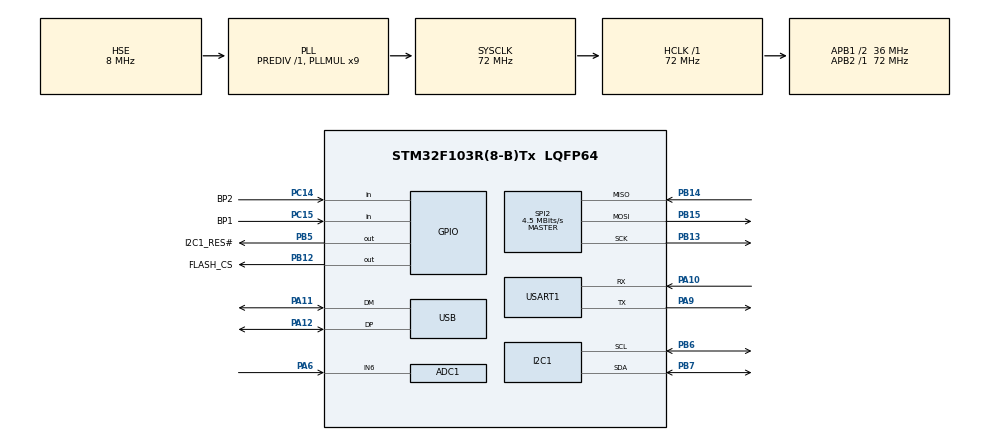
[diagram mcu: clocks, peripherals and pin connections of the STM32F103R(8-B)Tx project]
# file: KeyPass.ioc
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ADC1.Channel-1\#ChannelRegularConversion=ADC_CHANNEL_6
ADC1.NbrOfConversionFlag=1
ADC1.Rank-1\#ChannelRegularConversion=1
ADC1.SamplingTime-1\#ChannelRegularConversion=ADC_SAMPLETIME_1CYCLE_5
ADC1.master=1
AL94.I-CUBE-USBD-COMPOSITE.1.0.3.CompositeCcUSBJjCOMPOSITEJjCDCIiACM=true
AL94.I-CUBE-USBD-COMPOSITE.1.0.3.CompositeCcUSBJjCOMPOSITEJjCOMPOSITE=true
AL94.I-CUBE-USBD-COMPOSITE.1.0.3.CompositeCcUSBJjCOMPOSITEJjCore=true
AL94.I-CUBE-USBD-COMPOSITE.1.0.3.CompositeCcUSBJjCOMPOSITEJjHIDIiKEYBOARD=true
AL94.I-CUBE-USBD-COMPOSITE.1.0.3._STM32F1_DEVICE=true
AL94.I-CUBE-USBD-COMPOSITE.1.0.3._USBD_USE_CDC_ACM=true
AL94.I-CUBE-USBD-COMPOSITE.1.0.3._USBD_USE_HID_CUSTOM=false
AL94.I-CUBE-USBD-COMPOSITE.1.0.3._USBD_USE_HID_KEYBOARD=true
Mcu.Family=STM32F1
Mcu.Name=STM32F103R(8-B)Tx
Mcu.Package=LQFP64
NVIC.PriorityGroup=NVIC_PRIORITYGROUP_4
NVIC.USART1_IRQn=true\:0\:0\:false\:false\:true\:true\:true\:true
NVIC.USB_HP_CAN1_TX_IRQn=true\:0\:0\:false\:false\:true\:true\:true\:true
NVIC.USB_LP_CAN1_RX0_IRQn=true\:0\:0\:false\:false\:true\:true\:true\:true
PA10.Mode=Asynchronous
PA10.Signal=USART1_RX
PA11.Mode=Device
PA11.Signal=USB_DM
PA12.Mode=Device
PA12.Signal=USB_DP
PA13.Mode=Serial_Wire
PA13.Signal=SYS_JTMS-SWDIO
PA14.Mode=Serial_Wire
PA14.Signal=SYS_JTCK-SWCLK
PA6.Signal=ADCx_IN6
PA9.Mode=Asynchronous
PA9.Signal=USART1_TX
PB12.GPIO_Label=FLASH_CS
PB12.Signal=GPIO_Output
PB13.Mode=Full_Duplex_Master
PB13.Signal=SPI2_SCK
PB14.Mode=Full_Duplex_Master
PB14.Signal=SPI2_MISO
PB15.Mode=Full_Duplex_Master
PB15.Signal=SPI2_MOSI
PB5.GPIO_Label=I2C1_RES\#
PB5.Signal=GPIO_Output
PB6.Mode=I2C
PB6.Signal=I2C1_SCL
PB7.Mode=I2C
PB7.Signal=I2C1_SDA
PC14-OSC32_IN.GPIO_Label=BP2
PC14-OSC32_IN.Signal=GPIO_Input
PC15-OSC32_OUT.GPIO_Label=BP1
PC15-OSC32_OUT.Signal=GPIO_Input
PD0-OSC_IN.Mode=HSE-External-Oscillator
PD0-OSC_IN.Signal=RCC_OSC_IN
PD1-OSC_OUT.Mode=HSE-External-Oscillator
PD1-OSC_OUT.Signal=RCC_OSC_OUT
ProjectManager.HeapSize=0x200
ProjectManager.StackSize=0x400
ProjectManager.TargetToolchain=STM32CubeIDE
RCC.AHBFreq_Value=72000000
RCC.APB1CLKDivider=RCC_HCLK_DIV2
RCC.APB1Freq_Value=36000000
RCC.APB1TimFreq_Value=72000000
RCC.APB2Freq_Value=72000000
RCC.APB2TimFreq_Value=72000000
RCC.HCLKFreq_Value=72000000
RCC.PLLMUL=RCC_PLL_MUL9
RCC.SYSCLKFreq_VALUE=72000000
RCC.SYSCLKSource=RCC_SYSCLKSOURCE_PLLCLK
RCC.USBFreq_Value=48000000
RCC.USBPrescaler=RCC_USBCLKSOURCE_PLL_DIV1_5
SH.ADCx_IN6.0=ADC1_IN6,IN6
SPI2.BaudRatePrescaler=SPI_BAUDRATEPRESCALER_8
SPI2.CalculateBaudRate=4.5 MBits/s
SPI2.Direction=SPI_DIRECTION_2LINES
SPI2.Mode=SPI_MODE_MASTER
SPI2.VirtualType=VM_MASTER
USART1.VirtualMode=VM_ASYNC
USART1.WordLength=WORDLENGTH_8B
VP_AL94.I-CUBE-USBD-COMPOSITE_VS_USBJjComposite_1.0.0_1.0.3.Mode=USBJjComposite
board=custom

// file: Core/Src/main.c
/* USER CODE BEGIN Header */
/**
  ******************************************************************************
  * @file           : main.c
  * @brief          : Main program body
  ******************************************************************************
  * @attention
  *
  * Copyright (c) 2022 STMicroelectronics.
  * All rights reserved.
  *
  * This software is licensed under terms that can be found in the LICENSE file
  * in the root directory of this software component.
  * If no LICENSE file comes with this software, it is provided AS-IS.
  *
  ******************************************************************************
  */
/* USER CODE END Header */
#include "main.h"
#include "adc.h"
#include "i2c.h"
#include "spi.h"
#include "usart.h"
#include "gpio.h"

/* USER CODE BEGIN Includes */
#include "w25qxx.h"
#include "DFRobot_ID809.h"
#include "lcd_i2c.h"
#include "password.h"
/* USER CODE END Includes */

/* USER CODE BEGIN PV */
extern UART_HandleTypeDef huart1;

uint8_t buffer1[20];
uint8_t buffer2[100] = {0};
uint8_t codeState = e_INIT;
bool toSingleLoad = true;
char passwordStr[100] = {0};
uint8_t indexFlash[1] = {0};
uint8_t idButton = 0;
/* USER CODE END PV */

void SystemClock_Config(void);

int main(void)
{

  /* MCU Configuration--------------------------------------------------------*/

  /* Reset of all peripherals, Initializes the Flash interface and the Systick. */
  HAL_Init();

  /* USER CODE BEGIN Init */
  HAL_Delay(100);
  /* USER CODE END Init */

  /* Configure the system clock */
  SystemClock_Config();

  /* Initialize all configured peripherals */
  MX_GPIO_Init();
  MX_USB_PCD_Init();
  MX_I2C1_Init();
  MX_USART1_UART_Init();
  MX_SPI2_Init();
  MX_ADC1_Init();
  /* USER CODE BEGIN 2 */

  DFRobot_ID809_Init();
  MX_USB_DEVICE_Init();
  // Calibrate The ADC On Power-Up For Better Accuracy
  HAL_ADCEx_Calibration_Start(&hadc1);

  HAL_Delay(100);
  lcd_init ();
  lcd_clear ();
  HAL_Delay(100);

  writeOnLCD("      KeyPass", "Loading ...");

  uint8_t *data = "Hello World from USB CDC\n";
  CDC_Transmit(0, data, strlen(data));

  /* --------- differente commande for flash memeorie */
  W25qxx_Init();
  //block 1 for nb of password and fingerprint nb
  HAL_Delay(500);
  DFRobot_ID809_ctrlLED(eKeepsOn, eLEDRed, 0);
  //printf("Start\n");

  while (DFRobot_ID809_isConnected() == false) {
  	DFRobot_ID809_ctrlLED(eBreathing, eLEDWhite, 0);
	HAL_Delay(1000);
  }

  HAL_Delay(50);
  DFRobot_ID809_ctrlLED(eKeepsOn, eLEDGreen, 0);

  HAL_Delay(500);

  codeState = e_MENU;

  /* USER CODE END 2 */

  /* Infinite loop */
  while (1){
	  static uint8_t elementInMenu = 0;
	  switch(codeState){
		  case e_MENU:{
			  static char* menuButtons[5] = {"   Load password", "    Add password", "     Add finger", "     Del finger", "   reset password"};
			  if(toSingleLoad){
				  DFRobot_ID809_ctrlLED(eNormalClose, eLEDRed, 0);
				  elementInMenu = 5;
				  toSingleLoad=false;
				  writeOnLCD(menuButtons[idButton],"          ->    ok");
			  }
			  if(readButtonFinger()){
				  toSingleLoad = true;
				  switch(idButton){
				  	  case 0:
				  		codeState = e_PASSWORD;
				  		  break;
				  	  case 1:
				  		codeState = e_ADDPASSWORD;
				  		  break;
				  	  case 2:
				  		codeState = e_ADDFINGER;
				  		  break;
				  	  case 3:
				  		codeState = e_DELFINGER;
				  		  break;
				  	  case 4:
				  		  codeState = e_PASSRESET;
				  		  break;
				  }
				  idButton = 0;
			  }
			  if(readButton2()){
				  toSingleLoad = true;
				  if(idButton == elementInMenu-1){
					  idButton = 0;
				  }else{
					  idButton++;
				  }
			  }
			  break;
		  }
		  case e_PASSWORD:{
			  if(toSingleLoad){
				  W25qxx_ReadBlock(indexFlash, 1, 0, 1);
				  toSingleLoad=false;
				  if(indexFlash[0] > 0){
					  DFRobot_ID809_ctrlLED(eNormalClose, eLEDRed, 0);
					  W25qxx_ReadBlock(buffer1, 2+(idButton*2)+1, 0, 100);
					  writeOnLCD(buffer1,"  menu    ->    ok");
				  }else{
					  writeOnLCD("     No password","    return");
				  }
				  codeState = e_PASSWORD;
			  }
			  if(readButton2()){
				  codeState = e_PASSWORD;
				  if(indexFlash[0] > 0){
					  toSingleLoad = true;
					  if(idButton == indexFlash[0]-1){
						  idButton = 0;
					  }else{
						  idButton++;
					  }
				  }
			  }
			  if(readButtonFinger()){
				  codeState = e_PASSWORD;
				  toSingleLoad = true;
				  if(indexFlash[0] > 0){
					  writeOnLCD("    Check finger","       put it");
					  while(DFRobot_ID809_detectFinger());
					  if(testFingerPrint()){
						  writeOnLCD("    Start writing","      password");
						  W25qxx_ReadBlock(buffer1, 2+(idButton*2)+2, 0, 100);
						  W25qxx_R
						  writePasswordHID(buffer1);
						  writeOnLCD("    Writing done","");
						  codeState = e_MENU;
						  idButton=0;
						  HAL_Delay(1000);
					  }else{
						  writeOnLCD("    Wrong finger","");
					  }
					  HAL_Delay(1000);
				  }
			  }
			  if(readButton1()){
				  codeState = e_MENU;
				  toSingleLoad = true;
				  idButton=0;
			  }
			  break;
		  }
		  case e_ADDPASSWORD:{
			  writeOnLCD("    Check finger","       put it");
			  while(DFRobot_ID809_detectFinger());
			  if(testFingerPrint()){
				  bool _Lettre_, _Number_, _SpeChar_, _Capitals_;

				  HAL_Delay(500);
				  DFRobot_ID809_ctrlLED(eNormalClose, eLEDRed, 0);

				  writeOnLCD("    Has lettre ?","    no       yes");
				  while(!readButton1() && !(_Lettre_ = readButton2()));
				  writeOnLCD("    Has number ?","    no       yes");
				  while(!readButton1() && !(_Number_ = readButton2()));
				  writeOnLCD(" Has special char ?","    no       yes");
				  while(!readButton1() && !(_SpeChar_ = readButton2()));
				  writeOnLCD("   Has capitals ?","    no       yes");
				  while(!readButton1() && !(_Capitals_ = readButton2()));
				  writeOnLCD(" Starting generation","");

				  if(!_Number_ && !_SpeChar_) _Lettre_ = true;

				  generatePassword(passwordStr, 10, _Lettre_, _Number_, _SpeChar_, _Capitals_);

				  uint8_t namePass[21] = "Password  ";

				  W25qxx_ReadBlock(indexFlash, 1, 0, 1);

				  namePass[9] = indexFlash[0]+'0';

				  W25qxx_EraseBlock(2+((indexFlash[0])*2)+1);
				  W25qxx_EraseBlock(2+((indexFlash[0])*2)+2);
				  W25qxx_WriteBlock(namePass, 2+((indexFlash[0])*2)+1, 0, 21);
				  W25qxx_WriteBlock(passwordStr, 2+((indexFlash[0])*2)+2, 0, 100);

				  indexFlash[0]++;
				  W25qxx_EraseBlock(1);
				  W25qxx_WriteBlock(indexFlash, 1, 0, 1);

				  writeOnLCD("  Password has been","      generated");
				  HAL_Delay(1000);

				  codeState = e_MENU;

			  }else{
				  writeOnLCD("    Wrong finger","");
				  HAL_Delay(1000);
				  codeState = e_MENU;
			  }
			  break;
		  }
		  case e_ADDFINGER:{
			  writeOnLCD("  Your going to add","   finger print");
			  HAL_Delay(500);
			  addFingerPrint();
			  HAL_Delay(500);
			  codeState = e_MENU;
			  break;
		  }
		  case e_DELFINGER:{
			  writeOnLCD("Your going to delete", "   finger print");
			  delFingerPrint();
			  resetAllPassword();
			  HAL_Delay(500);
			  codeState = e_MENU;
			  break;
		  }
		  case e_PASSRESET:{
			  writeOnLCD("    Check finger","       put it");
			  while(DFRobot_ID809_detectFinger());
			  if(testFingerPrint()){
				  writeOnLCD("  Password has been","        reset");
				  resetAllPassword();
			  }else{
				  writeOnLCD("    Wrong finger","");
			  }
			  HAL_Delay(1000);
			  codeState = e_MENU;
			  break;
		  }
	  }
  }
}

bool readButton2(void)
{
	static bool lastPosBP1 = false;
	bool actualPosBP1 = HAL_GPIO_ReadPin(BP1_GPIO_Port, BP1_Pin);
	if(actualPosBP1 != lastPosBP1){
		lastPosBP1 = actualPosBP1;
		return actualPosBP1;
	}
	return false;
}

bool readButton1(void)
{
	static bool lastPosBP2 = false;
	bool actualPosBP2 = HAL_GPIO_ReadPin(BP2_GPIO_Port, BP2_Pin);
	if(actualPosBP2 != lastPosBP2){
		lastPosBP2 = actualPosBP2;
		return actualPosBP2;
	}
	return false;
}
bool readButtonFinger(void){
	static bool lastPosBP2 = false;
	bool actualPosBP2 = DFRobot_ID809_detectFinger();
	if(actualPosBP2 != lastPosBP2){
		lastPosBP2 = actualPosBP2;
		return actualPosBP2;
	}
	return false;
}

void SystemClock_Config(void)
{
  RCC_OscInitTypeDef RCC_OscInitStruct = {0};
  RCC_ClkInitTypeDef RCC_ClkInitStruct = {0};
  RCC_PeriphCLKInitTypeDef PeriphClkInit = {0};

  /** Initializes the RCC Oscillators according to the specified parameters
  * in the RCC_OscInitTypeDef structure.
  */
  RCC_OscInitStruct.OscillatorType = RCC_OSCILLATORTYPE_HSE;
  RCC_OscInitStruct.HSEState = RCC_HSE_ON;
  RCC_OscInitStruct.HSEPredivValue = RCC_HSE_PREDIV_DIV1;
  RCC_OscInitStruct.HSIState = RCC_HSI_ON;
  RCC_OscInitStruct.PLL.PLLState = RCC_PLL_ON;
  RCC_OscInitStruct.PLL.PLLSource = RCC_PLLSOURCE_HSE;
  RCC_OscInitStruct.PLL.PLLMUL = RCC_PLL_MUL9;
  if (HAL_RCC_OscConfig(&RCC_OscInitStruct) != HAL_OK)
  {
    Error_Handler();
  }

  /** Initializes the CPU, AHB and APB buses clocks
  */
  RCC_ClkInitStruct.ClockType = RCC_CLOCKTYPE_HCLK|RCC_CLOCKTYPE_SYSCLK
                              |RCC_CLOCKTYPE_PCLK1|RCC_CLOCKTYPE_PCLK2;
  RCC_ClkInitStruct.SYSCLKSource = RCC_SYSCLKSOURCE_PLLCLK;
  RCC_ClkInitStruct.AHBCLKDivider = RCC_SYSCLK_DIV1;
  RCC_ClkInitStruct.APB1CLKDivider = RCC_HCLK_DIV2;
  RCC_ClkInitStruct.APB2CLKDivider = RCC_HCLK_DIV1;

  if (HAL_RCC_ClockConfig(&RCC_ClkInitStruct, FLASH_LATENCY_2) != HAL_OK)
  {
    Error_Handler();
  }
  PeriphClkInit.PeriphClockSelection = RCC_PERIPHCLK_ADC|RCC_PERIPHCLK_USB;
  PeriphClkInit.AdcClockSelection = RCC_ADCPCLK2_DIV2;
  PeriphClkInit.UsbClockSelection = RCC_USBCLKSOURCE_PLL_DIV1_5;
  if (HAL_RCCEx_PeriphCLKConfig(&PeriphClkInit) != HAL_OK)
  {
    Error_Handler();
  }
}

void Error_Handler(void)
{
  __disable_irq();
  while (1)
  {
  }
}
